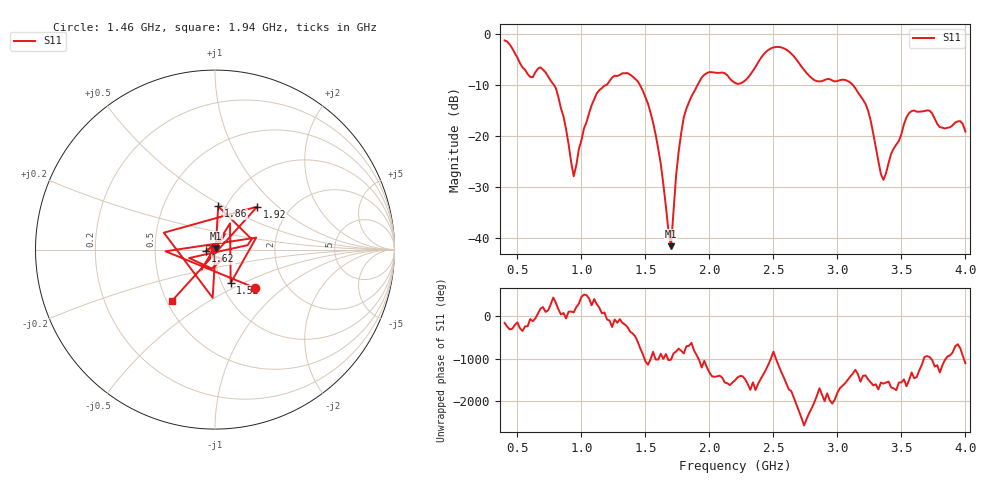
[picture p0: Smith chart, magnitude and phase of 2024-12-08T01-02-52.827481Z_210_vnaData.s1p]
!Created with skrf (http://scikit-rf.org).
# Hz S RI R 50.0
!freq ReS11 ImS11
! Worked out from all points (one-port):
!   181 points, 400 MHz to 4 GHz, reference 50 ohm
!   lowest |S11| = -41.7 dB at 1.7 GHz (marker M1), VSWR 1.02, Z = 50.5 + j0.672 ohm
!   |S11| at or under -10 dB: 783.3 MHz to 1.199 GHz (415.9 MHz wide, 42 % of centre); 1.456 GHz to 1.909 GHz (453.6 MHz wide, 27 % of centre); 3.118 GHz to end of sweep
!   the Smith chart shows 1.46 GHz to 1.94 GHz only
!   S11 on the Smith chart (normalised r, x): 1.46 GHz: 1.40, -0.66; 1.52 GHz: 1.10, -0.43; 1.62 GHz: 0.90, -0.02; 1.86 GHz: 0.92, +0.47; 1.92 GHz: 1.38, +0.75; 1.94 GHz: 0.53, -0.35
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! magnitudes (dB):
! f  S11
! 400 MHz  -1.3
! 600 MHz  -8.5
! 720 MHz  -7.6
! 800 MHz  -10.7
! 860 MHz  -16.2
! 940 MHz  -28.0
! 1.02 GHz  -18.6
! 1.12 GHz  -11.7
! 1.3 GHz  -8.1
! 1.46 GHz  -10.2
! 1.52 GHz  -13.7
! 1.62 GHz  -25.5
! 1.7 GHz  -41.7
! 1.76 GHz  -23.1
! 1.8 GHz  -16.4
! 1.86 GHz  -12.3
! 1.92 GHz  -9.5
! 1.94 GHz  -8.6
! 2.2 GHz  -9.7
! 2.48 GHz  -2.9
! 2.66 GHz  -4.4
! 2.82 GHz  -9.1
! 3.1 GHz  -9.6
! 3.24 GHz  -15.1
! 3.36 GHz  -28.7
! 3.56 GHz  -15.6
! 3.72 GHz  -15.1
! 4 GHz  -19.2
